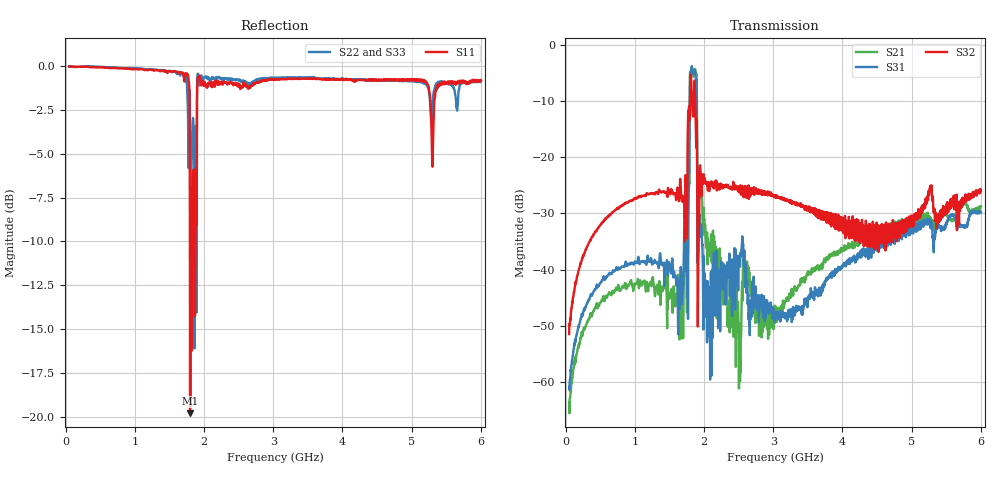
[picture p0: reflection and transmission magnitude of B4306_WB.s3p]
! Matrix data file written by TouchstoneData, EPCOS AG
! FILENAME: "B4306_02_WB.s3p_newformat"
! COMMENT: "(B4306_02_WB.s3p) Epcos AG 3/15/2011 3:53:17"
! INFO: nport=3, nfreq=1601
! DATE: "Mon Apr 18 17:37:01 2011"
! USER: "Sergey Rostovtsev"
! port | pin | signal
!  1  |  1  |  in
!  2  |  3  |  out
!  3  |  4  |  out
# MHZ S MA R 50
! freq  magS11 angS11  magS12 angS12  magS13 angS13  ...
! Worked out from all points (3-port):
!   1601 points, 50 MHz to 6 GHz, reference 50 ohm
!   strongest paths, dB at 50 MHz, 1.538 GHz, 3.025 GHz, 4.513 GHz, 6 GHz:
!     S32: -51.5, -26.1, -26.9, -32.1, -26.1
!     S31: -60.9, -38.4, -47.6, -35.8, -29.9
!     S21: -63.6, -44.5, -49.2, -33.0, -28.7
!   lowest |S11| = -19.8 dB at 1.798 GHz (marker M1), VSWR 1.23, Z = 41.4 - j3.6 ohm
!   |S11| at or under -10 dB: 1.795141 GHz to 1.801069 GHz (5.928 MHz wide, 0.33 % of centre); 1.814 GHz to 1.829 GHz (15.56 MHz wide, 0.854 % of centre); 1.862 GHz to 1.875 GHz (12.75 MHz wide, 0.682 % of centre)
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50  0.9976 -3.7  0.0006941 88.0  0.0009005 81.9
    0.0006576 89.1  0.9987 -2.4  0.002758 84.5
    0.0009052 87.6  0.002673 86.0  0.998 -2.4
737.9688  0.9855 -49.7  0.00676 48.1  0.01046 47.7
          0.006759 48.4  0.9883 -32.6  0.0348 58.0
          0.01044 47.9  0.03483 58.0  0.9877 -33.1
1671.375  0.959 -109.7  0.005118 14.7  0.007196 7.6
          0.004921 14.2  0.9555 -77.8  0.0447 24.6
          0.007107 7.5  0.04468 24.6  0.9543 -78.5
1797.812  0.1022 -155.1  0.5753 13.1  0.5555 -167.9
          0.5757 13.2  0.4659 -141.6  0.3314 -156.5
          0.5542 -167.9  0.3306 -156.6  0.4996 -141.2
1864.75  0.2472 162.4  0.6039 130.8  0.5992 -50.0
         0.6042 131.0  0.2531 31.0  0.4675 75.2
         0.5983 -49.9  0.4664 75.2  0.2665 30.9
1931.688  0.934 -67.1  0.04341 46.0  0.02865 -137.5
          0.04348 46.1  0.9041 -54.4  0.04032 108.7
          0.02807 -137.5  0.03957 108.6  0.8975 -55.7
2080.438  0.8902 -92.0  0.01569 21.7  0.007065 54.1
          0.01501 21.6  0.9137 -70.9  0.05411 33.1
          0.006959 54.3  0.05393 33.1  0.9163 -71.4
2552.719  0.8766 -109.9  0.007836 -176.9  0.01983 9.6
          0.007828 -176.7  0.9079 -86.9  0.04666 16.4
          0.01983 9.7  0.04665 16.3  0.9082 -87.7
3025  0.9159 -121.7  0.003467 101.7  0.004138 49.8
      0.003477 101.3  0.9247 -97.1  0.04527 8.8
      0.004153 50.3  0.0451 8.8  0.9262 -98.0
6000  0.9109 -177.7  0.0365 92.3  0.03208 94.0
      0.03653 92.4  0.9043 -149.4  0.04987 87.0
      0.03209 94.1  0.04973 87.2  0.9082 -151.1
